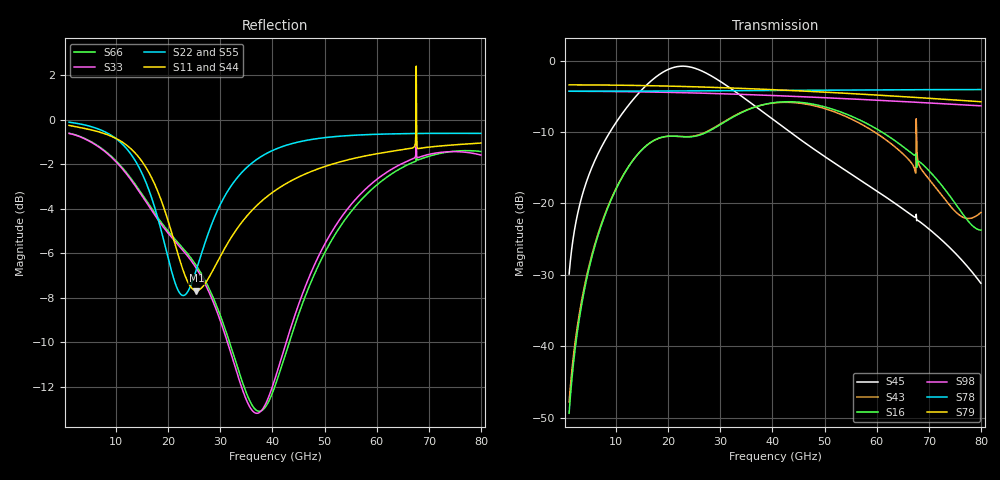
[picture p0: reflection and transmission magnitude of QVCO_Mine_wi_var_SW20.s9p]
! Touchstone Ver. 1.0
! Number of ports is 9
# Hz	S	RI	R	50.000000
! SCATTERING PARAMETERS  :
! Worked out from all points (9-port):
!   1001 points, 1 GHz to 80 GHz, reference 50 ohm
!   strongest paths, dB at 1 GHz, 20.75 GHz, 40.5 GHz, 60.25 GHz, 80 GHz:
!     S79: -3.4, -3.6, -4.1, -4.8, -5.8
!     S78: -4.3, -4.2, -4.2, -4.1, -4.0
!     S98: -4.3, -4.4, -4.9, -5.5, -6.3
!     S16: -49.4, -10.6, -5.9, -9.7, -23.7
!     S43: -47.8, -10.6, -5.9, -10.3, -21.3
!     S45: -29.9, -1.0, -8.5, -18.4, -31.2
!   lowest |S11| = -7.7 dB at 25.41 GHz (marker M1), VSWR 2.41, Z = 47.8 + j44.3 ohm
!   |S11| at or under -10 dB: nowhere
